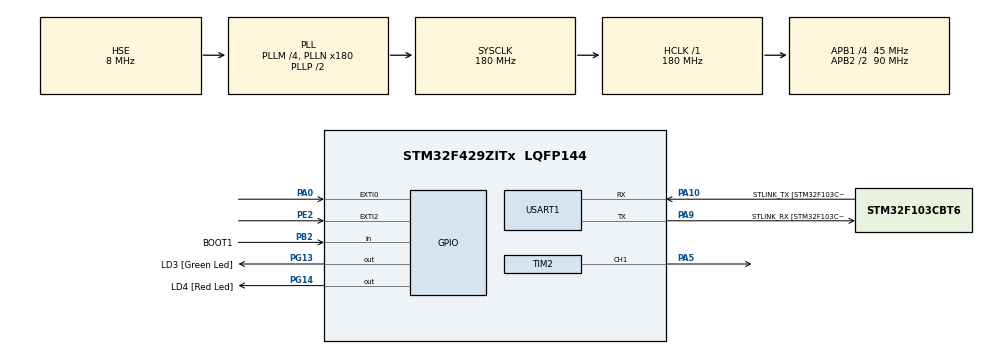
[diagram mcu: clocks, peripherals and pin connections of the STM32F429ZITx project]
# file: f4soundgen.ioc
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Mcu.Family=STM32F4
Mcu.Name=STM32F429ZITx
Mcu.Package=LQFP144
NVIC.EXTI0_IRQn=true\:0\:0\:false\:false\:true\:true
NVIC.EXTI2_IRQn=true\:0\:0\:false\:false\:true\:true
NVIC.PriorityGroup=NVIC_PRIORITYGROUP_4
NVIC.TIM6_DAC_IRQn=true\:0\:0\:false\:false\:true\:false
NVIC.TIM7_IRQn=true\:0\:0\:false\:false\:true\:true
NVIC.TimeBase=TIM6_DAC_IRQn
NVIC.TimeBaseIP=TIM6
PA0/WKUP.Signal=GPXTI0
PA10.GPIO_Label=STLINK_TX [STM32F103CBT6_PA2]
PA10.Mode=Asynchronous
PA10.Signal=USART1_RX
PA11.GPIO_Label=R4
PA11.GPIO_Mode=GPIO_MODE_AF_PP
PA11.GPIO_PuPd=GPIO_NOPULL
PA11.GPIO_Speed=GPIO_SPEED_FREQ_LOW
PA11.Signal=LTDC_R4
PA12.GPIO_Label=R5
PA12.GPIO_Mode=GPIO_MODE_AF_PP
PA12.GPIO_PuPd=GPIO_NOPULL
PA12.GPIO_Speed=GPIO_SPEED_FREQ_LOW
PA12.Signal=LTDC_R5
PA13.GPIO_Label=SWDIO
PA13.Mode=Serial_Wire
PA13.Signal=SYS_JTMS-SWDIO
PA14.GPIO_Label=SWCLK
PA14.Mode=Serial_Wire
PA14.Signal=SYS_JTCK-SWCLK
PA3.GPIO_Label=B5
PA3.GPIO_Mode=GPIO_MODE_AF_PP
PA3.GPIO_PuPd=GPIO_NOPULL
PA3.GPIO_Speed=GPIO_SPEED_FREQ_LOW
PA3.Signal=LTDC_B5
PA4.GPIO_Label=VSYNC
PA4.GPIO_Mode=GPIO_MODE_AF_PP
PA4.GPIO_PuPd=GPIO_NOPULL
PA4.GPIO_Speed=GPIO_SPEED_FREQ_LOW
PA4.Signal=LTDC_VSYNC
PA5.Signal=S_TIM2_CH1_ETR
PA6.GPIO_Label=G2
PA6.GPIO_Mode=GPIO_MODE_AF_PP
PA6.GPIO_PuPd=GPIO_NOPULL
PA6.GPIO_Speed=GPIO_SPEED_FREQ_LOW
PA6.Signal=LTDC_G2
PA8.GPIO_Label=I2C3_SCL [ACP/RF_SCL]
PA8.GPIO_Mode=GPIO_MODE_AF_OD
PA8.GPIO_PuPd=GPIO_NOPULL
PA8.GPIO_Speed=GPIO_SPEED_FREQ_LOW
PA8.Signal=I2C3_SCL
PA9.GPIO_Label=STLINK_RX [STM32F103CBT6_PA3]
PA9.Mode=Asynchronous
PA9.Signal=USART1_TX
PB0.GPIO_Label=R3
PB0.GPIO_Mode=GPIO_MODE_AF_PP
PB0.GPIO_PuPd=GPIO_NOPULL
PB0.GPIO_Speed=GPIO_SPEED_FREQ_LOW
PB0.Signal=LTDC_R3
PB1.GPIO_Label=R6
PB1.GPIO_Mode=GPIO_MODE_AF_PP
PB1.GPIO_PuPd=GPIO_NOPULL
PB1.GPIO_Speed=GPIO_SPEED_FREQ_LOW
PB1.Signal=LTDC_R6
PB10.GPIO_Label=G4
PB10.GPIO_Mode=GPIO_MODE_AF_PP
PB10.GPIO_PuPd=GPIO_NOPULL
PB10.GPIO_Speed=GPIO_SPEED_FREQ_LOW
PB10.Signal=LTDC_G4
PB11.GPIO_Label=G5
PB11.GPIO_Mode=GPIO_MODE_AF_PP
PB11.GPIO_PuPd=GPIO_NOPULL
PB11.GPIO_Speed=GPIO_SPEED_FREQ_LOW
PB11.Signal=LTDC_G5
PB12.GPIO_Label=OTG_FS_ID
PB12.GPIO_Mode=GPIO_MODE_AF_PP
PB12.GPIO_PuPd=GPIO_NOPULL
PB12.GPIO_Speed=GPIO_SPEED_FREQ_LOW
PB12.Signal=USB_OTG_HS_ID
PB13.GPIO_Label=VBUS_FS
PB13.GPIO_Mode=GPIO_MODE_INPUT
PB13.GPIO_PuPd=GPIO_NOPULL
PB13.Signal=USB_OTG_HS_VBUS
PB14.GPIO_Label=OTG_FS_DM
PB14.GPIO_Mode=GPIO_MODE_AF_PP
PB14.GPIO_PuPd=GPIO_NOPULL
PB14.GPIO_Speed=GPIO_SPEED_FREQ_LOW
PB14.Signal=USB_OTG_HS_DM
PB15.GPIO_Label=OTG_FS_DP
PB15.GPIO_Mode=GPIO_MODE_AF_PP
PB15.GPIO_PuPd=GPIO_NOPULL
PB15.GPIO_Speed=GPIO_SPEED_FREQ_LOW
PB15.Signal=USB_OTG_HS_DP
PB2/BOOT1.GPIO_Label=BOOT1
PB2/BOOT1.GPIO_Mode=GPIO_MODE_INPUT
PB2/BOOT1.GPIO_PuPd=GPIO_NOPULL
PB2/BOOT1.Signal=GPIO_Input
PB5.GPIO_Label=SDCKE1
PB5.GPIO_Mode=GPIO_MODE_AF_PP
PB5.GPIO_PuPd=GPIO_NOPULL
PB5.GPIO_Speed=GPIO_SPEED_FREQ_VERY_HIGH
PB5.Signal=FMC_SDCKE1
PB6.GPIO_Label=SDNE1 [SDRAM_CS]
PB6.GPIO_Mode=GPIO_MODE_AF_PP
PB6.GPIO_PuPd=GPIO_NOPULL
PB6.GPIO_Speed=GPIO_SPEED_FREQ_VERY_HIGH
PB6.Signal=FMC_SDNE1
PB8.GPIO_Label=B6
PB8.GPIO_Mode=GPIO_MODE_AF_PP
PB8.GPIO_PuPd=GPIO_NOPULL
PB8.GPIO_Speed=GPIO_SPEED_FREQ_LOW
PB8.Signal=LTDC_B6
PB9.GPIO_Label=B7
PB9.GPIO_Mode=GPIO_MODE_AF_PP
PB9.GPIO_PuPd=GPIO_NOPULL
PB9.GPIO_Speed=GPIO_SPEED_FREQ_LOW
PB9.Signal=LTDC_B7
PC0.GPIO_Label=SDNWE
PC0.GPIO_Mode=GPIO_MODE_AF_PP
PC0.GPIO_PuPd=GPIO_NOPULL
PC0.GPIO_Speed=GPIO_SPEED_FREQ_VERY_HIGH
PC0.Signal=FMC_SDNWE
PC10.GPIO_Label=R2
PC10.GPIO_Mode=GPIO_MODE_AF_PP
PC10.GPIO_PuPd=GPIO_NOPULL
PC10.GPIO_Speed=GPIO_SPEED_FREQ_LOW
PC10.Signal=LTDC_R2
PC14/OSC32_IN.GPIO_Label=PC14-OSC32_IN
PC14/OSC32_IN.Signal=RCC_OSC32_IN
PC15/OSC32_OUT.GPIO_Label=PC15-OSC32_OUT
PC15/OSC32_OUT.Signal=RCC_OSC32_OUT
PC6.GPIO_Label=HSYNC
PC6.GPIO_Mode=GPIO_MODE_AF_PP
PC6.GPIO_PuPd=GPIO_NOPULL
PC6.GPIO_Speed=GPIO_SPEED_FREQ_LOW
PC6.Signal=LTDC_HSYNC
PC7.GPIO_Label=G6
PC7.GPIO_Mode=GPIO_MODE_AF_PP
PC7.GPIO_PuPd=GPIO_NOPULL
PC7.GPIO_Speed=GPIO_SPEED_FREQ_LOW
PC7.Signal=LTDC_G6
PC9.GPIO_Label=I2C3_SDA [ACP/RF_SDA]
PC9.GPIO_Mode=GPIO_MODE_AF_OD
PC9.GPIO_PuPd=GPIO_NOPULL
PC9.GPIO_Speed=GPIO_SPEED_FREQ_LOW
PC9.Signal=I2C3_SDA
PD0.GPIO_Label=D2
PD0.GPIO_Mode=GPIO_MODE_AF_PP
PD0.GPIO_PuPd=GPIO_NOPULL
PD0.GPIO_Speed=GPIO_SPEED_FREQ_VERY_HIGH
PD0.Signal=FMC_D2_DA2
PD1.GPIO_Label=D3
PD1.GPIO_Mode=GPIO_MODE_AF_PP
PD1.GPIO_PuPd=GPIO_NOPULL
PD1.GPIO_Speed=GPIO_SPEED_FREQ_VERY_HIGH
PD1.Signal=FMC_D3_DA3
PD10.GPIO_Label=D15
PD10.GPIO_Mode=GPIO_MODE_AF_PP
PD10.GPIO_PuPd=GPIO_NOPULL
PD10.GPIO_Speed=GPIO_SPEED_FREQ_VERY_HIGH
PD10.Signal=FMC_D15_DA15
PD14.GPIO_Label=D0
PD14.GPIO_Mode=GPIO_MODE_AF_PP
PD14.GPIO_PuPd=GPIO_NOPULL
PD14.GPIO_Speed=GPIO_SPEED_FREQ_VERY_HIGH
PD14.Signal=FMC_D0_DA0
PD15.GPIO_Label=D1
PD15.GPIO_Mode=GPIO_MODE_AF_PP
PD15.GPIO_PuPd=GPIO_NOPULL
PD15.GPIO_Speed=GPIO_SPEED_FREQ_VERY_HIGH
PD15.Signal=FMC_D1_DA1
PD3.GPIO_Label=G7
PD3.GPIO_Mode=GPIO_MODE_AF_PP
PD3.GPIO_PuPd=GPIO_NOPULL
PD3.GPIO_Speed=GPIO_SPEED_FREQ_LOW
PD3.Signal=LTDC_G7
PD6.GPIO_Label=B2
PD6.GPIO_Mode=GPIO_MODE_AF_PP
PD6.GPIO_PuPd=GPIO_NOPULL
PD6.GPIO_Speed=GPIO_SPEED_FREQ_LOW
PD6.Signal=LTDC_B2
PD8.GPIO_Label=D13
PD8.GPIO_Mode=GPIO_MODE_AF_PP
PD8.GPIO_PuPd=GPIO_NOPULL
PD8.GPIO_Speed=GPIO_SPEED_FREQ_VERY_HIGH
PD8.Signal=FMC_D13_DA13
PD9.GPIO_Label=D14
PD9.GPIO_Mode=GPIO_MODE_AF_PP
PD9.GPIO_PuPd=GPIO_NOPULL
PD9.GPIO_Speed=GPIO_SPEED_FREQ_VERY_HIGH
PD9.Signal=FMC_D14_DA14
PE0.GPIO_Label=NBL0 [SDRAM_LDQM]
PE0.GPIO_Mode=GPIO_MODE_AF_PP
PE0.GPIO_PuPd=GPIO_NOPULL
PE0.GPIO_Speed=GPIO_SPEED_FREQ_VERY_HIGH
PE0.Signal=FMC_NBL0
PE1.GPIO_Label=NBL1 [SDRAM_UDQM]
PE1.GPIO_Mode=GPIO_MODE_AF_PP
PE1.GPIO_PuPd=GPIO_NOPULL
PE1.GPIO_Speed=GPIO_SPEED_FREQ_VERY_HIGH
PE1.Signal=FMC_NBL1
PE10.GPIO_Label=D7
PE10.GPIO_Mode=GPIO_MODE_AF_PP
PE10.GPIO_PuPd=GPIO_NOPULL
PE10.GPIO_Speed=GPIO_SPEED_FREQ_VERY_HIGH
PE10.Signal=FMC_D7_DA7
PE11.GPIO_Label=D8
PE11.GPIO_Mode=GPIO_MODE_AF_PP
PE11.GPIO_PuPd=GPIO_NOPULL
PE11.GPIO_Speed=GPIO_SPEED_FREQ_VERY_HIGH
PE11.Signal=FMC_D8_DA8
PE12.GPIO_Label=D9
PE12.GPIO_Mode=GPIO_MODE_AF_PP
PE12.GPIO_PuPd=GPIO_NOPULL
PE12.GPIO_Speed=GPIO_SPEED_FREQ_VERY_HIGH
PE12.Signal=FMC_D9_DA9
PE13.GPIO_Label=D10
PE13.GPIO_Mode=GPIO_MODE_AF_PP
PE13.GPIO_PuPd=GPIO_NOPULL
PE13.GPIO_Speed=GPIO_SPEED_FREQ_VERY_HIGH
PE13.Signal=FMC_D10_DA10
PE14.GPIO_Label=D11
PE14.GPIO_Mode=GPIO_MODE_AF_PP
PE14.GPIO_PuPd=GPIO_NOPULL
PE14.GPIO_Speed=GPIO_SPEED_FREQ_VERY_HIGH
PE14.Signal=FMC_D11_DA11
PE15.GPIO_Label=D12
PE15.GPIO_Mode=GPIO_MODE_AF_PP
PE15.GPIO_PuPd=GPIO_NOPULL
PE15.GPIO_Speed=GPIO_SPEED_FREQ_VERY_HIGH
PE15.Signal=FMC_D12_DA12
PE2.GPIO_PuPd=GPIO_PULLDOWN
PE2.Signal=GPXTI2
PE7.GPIO_Label=D4
PE7.GPIO_Mode=GPIO_MODE_AF_PP
PE7.GPIO_PuPd=GPIO_NOPULL
PE7.GPIO_Speed=GPIO_SPEED_FREQ_VERY_HIGH
PE7.Signal=FMC_D4_DA4
PE8.GPIO_Label=D5
PE8.GPIO_Mode=GPIO_MODE_AF_PP
PE8.GPIO_PuPd=GPIO_NOPULL
PE8.GPIO_Speed=GPIO_SPEED_FREQ_VERY_HIGH
PE8.Signal=FMC_D5_DA5
PE9.GPIO_Label=D6
PE9.GPIO_Mode=GPIO_MODE_AF_PP
PE9.GPIO_PuPd=GPIO_NOPULL
PE9.GPIO_Speed=GPIO_SPEED_FREQ_VERY_HIGH
PE9.Signal=FMC_D6_DA6
PF0.GPIO_Label=A0
PF0.GPIO_Mode=GPIO_MODE_AF_PP
PF0.GPIO_PuPd=GPIO_NOPULL
PF0.GPIO_Speed=GPIO_SPEED_FREQ_VERY_HIGH
PF0.Signal=FMC_A0
PF1.GPIO_Label=A1
PF1.GPIO_Mode=GPIO_MODE_AF_PP
PF1.GPIO_PuPd=GPIO_NOPULL
PF1.GPIO_Speed=GPIO_SPEED_FREQ_VERY_HIGH
PF1.Signal=FMC_A1
PF10.GPIO_Label=ENABLE [LCD-RGB_ENABLE]
PF10.GPIO_Mode=GPIO_MODE_AF_PP
PF10.GPIO_PuPd=GPIO_NOPULL
PF10.GPIO_Speed=GPIO_SPEED_FREQ_LOW
PF10.Signal=LTDC_DE
PF11.GPIO_Label=SDNRAS
PF11.GPIO_Mode=GPIO_MODE_AF_PP
PF11.GPIO_PuPd=GPIO_NOPULL
PF11.GPIO_Speed=GPIO_SPEED_FREQ_VERY_HIGH
PF11.Signal=FMC_SDNRAS
PF12.GPIO_Label=A6
PF12.GPIO_Mode=GPIO_MODE_AF_PP
PF12.GPIO_PuPd=GPIO_NOPULL
PF12.GPIO_Speed=GPIO_SPEED_FREQ_VERY_HIGH
PF12.Signal=FMC_A6
PF13.GPIO_Label=A7
PF13.GPIO_Mode=GPIO_MODE_AF_PP
PF13.GPIO_PuPd=GPIO_NOPULL
PF13.GPIO_Speed=GPIO_SPEED_FREQ_VERY_HIGH
PF13.Signal=FMC_A7
PF14.GPIO_Label=A8
PF14.GPIO_Mode=GPIO_MODE_AF_PP
PF14.GPIO_PuPd=GPIO_NOPULL
PF14.GPIO_Speed=GPIO_SPEED_FREQ_VERY_HIGH
PF14.Signal=FMC_A8
PF15.GPIO_Label=A9
PF15.GPIO_Mode=GPIO_MODE_AF_PP
PF15.GPIO_PuPd=GPIO_NOPULL
PF15.GPIO_Speed=GPIO_SPEED_FREQ_VERY_HIGH
PF15.Signal=FMC_A9
PF2.GPIO_Label=A2
PF2.GPIO_Mode=GPIO_MODE_AF_PP
PF2.GPIO_PuPd=GPIO_NOPULL
PF2.GPIO_Speed=GPIO_SPEED_FREQ_VERY_HIGH
PF2.Signal=FMC_A2
PF3.GPIO_Label=A3
PF3.GPIO_Mode=GPIO_MODE_AF_PP
PF3.GPIO_PuPd=GPIO_NOPULL
PF3.GPIO_Speed=GPIO_SPEED_FREQ_VERY_HIGH
PF3.Signal=FMC_A3
PF4.GPIO_Label=A4
PF4.GPIO_Mode=GPIO_MODE_AF_PP
PF4.GPIO_PuPd=GPIO_NOPULL
PF4.GPIO_Speed=GPIO_SPEED_FREQ_VERY_HIGH
PF4.Signal=FMC_A4
PF5.GPIO_Label=A5
PF5.GPIO_Mode=GPIO_MODE_AF_PP
PF5.GPIO_PuPd=GPIO_NOPULL
PF5.GPIO_Speed=GPIO_SPEED_FREQ_VERY_HIGH
PF5.Signal=FMC_A5
PF7.GPIO_Label=SPI5_SCK [L3GD20_SCL/SPC]
PF7.GPIO_Mode=GPIO_MODE_AF_PP
PF7.GPIO_PuPd=GPIO_NOPULL
PF7.GPIO_Speed=GPIO_SPEED_FREQ_LOW
PF7.Signal=SPI5_SCK
PF8.GPIO_Label=SPI5_MISO [L3GD20_SDO]
PF8.GPIO_Mode=GPIO_MODE_AF_PP
PF8.GPIO_PuPd=GPIO_NOPULL
PF8.GPIO_Speed=GPIO_SPEED_FREQ_LOW
PF8.Signal=SPI5_MISO
PF9.GPIO_Label=SPI5_MOSI [L3GD20_SDA/SDI/SDO]
PF9.GPIO_Mode=GPIO_MODE_AF_PP
PF9.GPIO_PuPd=GPIO_NOPULL
PF9.GPIO_Speed=GPIO_SPEED_FREQ_LOW
PF9.Signal=SPI5_MOSI
PG0.GPIO_Label=A10
PG0.GPIO_Mode=GPIO_MODE_AF_PP
PG0.GPIO_PuPd=GPIO_NOPULL
PG0.GPIO_Speed=GPIO_SPEED_FREQ_VERY_HIGH
PG0.Signal=FMC_A10
PG1.GPIO_Label=A11
PG1.GPIO_Mode=GPIO_MODE_AF_PP
PG1.GPIO_PuPd=GPIO_NOPULL
PG1.GPIO_Speed=GPIO_SPEED_FREQ_VERY_HIGH
PG1.Signal=FMC_A11
PG10.GPIO_Label=G3
PG10.GPIO_Mode=GPIO_MODE_AF_PP
PG10.GPIO_PuPd=GPIO_NOPULL
PG10.GPIO_Speed=GPIO_SPEED_FREQ_LOW
PG10.Signal=LTDC_G3
PG11.GPIO_Label=B3
PG11.GPIO_Mode=GPIO_MODE_AF_PP
PG11.GPIO_PuPd=GPIO_NOPULL
PG11.GPIO_Speed=GPIO_SPEED_FREQ_LOW
PG11.Signal=LTDC_B3
PG12.GPIO_Label=B4
PG12.GPIO_Mode=GPIO_MODE_AF_PP
PG12.GPIO_PuPd=GPIO_NOPULL
PG12.GPIO_Speed=GPIO_SPEED_FREQ_LOW
PG12.Signal=LTDC_B4
PG13.GPIO_Label=LD3 [Green Led]
PG13.GPIO_Mode=GPIO_MODE_OUTPUT_PP
PG13.GPIO_PuPd=GPIO_NOPULL
PG13.GPIO_Speed=GPIO_SPEED_FREQ_LOW
PG13.Signal=GPIO_Output
PG14.GPIO_Label=LD4 [Red Led]
PG14.GPIO_Mode=GPIO_MODE_OUTPUT_PP
PG14.GPIO_PuPd=GPIO_NOPULL
PG14.GPIO_Speed=GPIO_SPEED_FREQ_LOW
PG14.Signal=GPIO_Output
PG15.GPIO_Label=SDNCAS
PG15.GPIO_Mode=GPIO_MODE_AF_PP
PG15.GPIO_PuPd=GPIO_NOPULL
PG15.GPIO_Speed=GPIO_SPEED_FREQ_VERY_HIGH
PG15.Signal=FMC_SDNCAS
PG4.GPIO_Label=BA0
PG4.GPIO_Mode=GPIO_MODE_AF_PP
PG4.GPIO_PuPd=GPIO_NOPULL
PG4.GPIO_Speed=GPIO_SPEED_FREQ_VERY_HIGH
PG4.Signal=FMC_A14_BA0
PG5.GPIO_Label=BA1
PG5.GPIO_Mode=GPIO_MODE_AF_PP
PG5.GPIO_PuPd=GPIO_NOPULL
PG5.GPIO_Speed=GPIO_SPEED_FREQ_VERY_HIGH
PG5.Signal=FMC_A15_BA1
PG6.GPIO_Label=R7
PG6.GPIO_Mode=GPIO_MODE_AF_PP
PG6.GPIO_PuPd=GPIO_NOPULL
PG6.GPIO_Speed=GPIO_SPEED_FREQ_LOW
PG6.Signal=LTDC_R7
PG7.GPIO_Label=DOTCLK [LCT-RGB_DOTCLK]
PG7.GPIO_Mode=GPIO_MODE_AF_PP
PG7.GPIO_PuPd=GPIO_NOPULL
PG7.GPIO_Speed=GPIO_SPEED_FREQ_LOW
PG7.Signal=LTDC_CLK
PG8.GPIO_Label=SDCLK
PG8.GPIO_Mode=GPIO_MODE_AF_PP
PG8.GPIO_PuPd=GPIO_NOPULL
PG8.GPIO_Speed=GPIO_SPEED_FREQ_VERY_HIGH
PG8.Signal=FMC_SDCLK
PH0/OSC_IN.GPIO_Label=PH0-OSC_IN
PH0/OSC_IN.Mode=HSE-External-Oscillator
PH0/OSC_IN.Signal=RCC_OSC_IN
PH1/OSC_OUT.GPIO_Label=PH1-OSC_OUT
PH1/OSC_OUT.Mode=HSE-External-Oscillator
PH1/OSC_OUT.Signal=RCC_OSC_OUT
ProjectManager.HeapSize=0x200
ProjectManager.StackSize=0x400
ProjectManager.TargetToolchain=Makefile
RCC.48MHZClocksFreq_Value=90000000
RCC.AHBFreq_Value=180000000
RCC.APB1CLKDivider=RCC_HCLK_DIV4
RCC.APB1Freq_Value=45000000
RCC.APB1TimFreq_Value=90000000
RCC.APB2CLKDivider=RCC_HCLK_DIV2
RCC.APB2Freq_Value=90000000
RCC.APB2TimFreq_Value=180000000
RCC.CortexFreq_Value=180000000
RCC.HCLKFreq_Value=180000000
RCC.HSE_VALUE=8000000
RCC.HSI_VALUE=16000000
RCC.LSE_VALUE=32768
RCC.PLLM=4
RCC.PLLN=180
RCC.PLLSAIDivR=RCC_PLLSAIDIVR_4
RCC.PLLSAIN=60
RCC.PLLSAIR=5
RCC.PLLSourceVirtual=RCC_PLLSOURCE_HSE
RCC.SYSCLKFreq_VALUE=180000000
RCC.SYSCLKSource=RCC_SYSCLKSOURCE_PLLCLK
RCC.VCOOutputFreq_Value=360000000
SH.FMC_A0.0=FMC_A0
SH.FMC_A1.0=FMC_A1
SH.FMC_A10.0=FMC_A10
SH.FMC_A11.0=FMC_A11
SH.FMC_A14_BA0.0=FMC_BA0
SH.FMC_A15_BA1.0=FMC_BA1
SH.FMC_A2.0=FMC_A2
SH.FMC_A3.0=FMC_A3
SH.FMC_A4.0=FMC_A4
SH.FMC_A5.0=FMC_A5
SH.FMC_A6.0=FMC_A6
SH.FMC_A7.0=FMC_A7
SH.FMC_A8.0=FMC_A8
SH.FMC_A9.0=FMC_A9
SH.FMC_D0_DA0.0=FMC_D0
SH.FMC_D10_DA10.0=FMC_D10
SH.FMC_D11_DA11.0=FMC_D11
SH.FMC_D12_DA12.0=FMC_D12
SH.FMC_D13_DA13.0=FMC_D13
SH.FMC_D14_DA14.0=FMC_D14
SH.FMC_D15_DA15.0=FMC_D15
SH.FMC_D1_DA1.0=FMC_D1
SH.FMC_D2_DA2.0=FMC_D2
SH.FMC_D3_DA3.0=FMC_D3
SH.FMC_D4_DA4.0=FMC_D4
SH.FMC_D5_DA5.0=FMC_D5
SH.FMC_D6_DA6.0=FMC_D6
SH.FMC_D7_DA7.0=FMC_D7
SH.FMC_D8_DA8.0=FMC_D8
SH.FMC_D9_DA9.0=FMC_D9
SH.FMC_NBL0.0=FMC_NBL0
SH.FMC_NBL1.0=FMC_NBL1
SH.FMC_SDCLK.0=FMC_SDCLK
SH.FMC_SDNCAS.0=FMC_SDNCAS
SH.FMC_SDNRAS.0=FMC_SDNRAS
SH.FMC_SDNWE.0=FMC_SDNWE
SH.S_TIM2_CH1_ETR.0=TIM2_CH1,PWM Generation1 CH1
TIM2.Channel-PWM\ Generation1\ CH1=TIM_CHANNEL_1
TIM2.Period=100
TIM2.Prescaler=9
TIM2.Pulse-PWM\ Generation1\ CH1=50
TIM7.Period=2045
USART1.VirtualMode=VM_ASYNC
VP_SYS_VS_tim6.Mode=TIM6
VP_TIM7_VS_ClockSourceINT.Mode=Enable_Timer
board=32F429IDISCOVERY

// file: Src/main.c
/**
  ******************************************************************************
  * @file           : main.c
  * @brief          : Main program body
  ******************************************************************************
  ** This notice applies to any and all portions of this file
  * that are not between comment pairs USER CODE BEGIN and
  * USER CODE END. Other portions of this file, whether
  * inserted by the user or by software development tools
  * are owned by their respective copyright owners.
  *
  * COPYRIGHT(c) 2019 STMicroelectronics
  *
  * Redistribution and use in source and binary forms, with or without modification,
  * are permitted provided that the following conditions are met:
  *   1. Redistributions of source code must retain the above copyright notice,
  *      this list of conditions and the following disclaimer.
  *   2. Redistributions in binary form must reproduce the above copyright notice,
  *      this list of conditions and the following disclaimer in the documentation
  *      and/or other materials provided with the distribution.
  *   3. Neither the name of STMicroelectronics nor the names of its contributors
  *      may be used to endorse or promote products derived from this software
  *      without specific prior written permission.
  *
  * THIS SOFTWARE IS PROVIDED BY THE COPYRIGHT HOLDERS AND CONTRIBUTORS "AS IS"
  * AND ANY EXPRESS OR IMPLIED WARRANTIES, INCLUDING, BUT NOT LIMITED TO, THE
  * IMPLIED WARRANTIES OF MERCHANTABILITY AND FITNESS FOR A PARTICULAR PURPOSE ARE
  * DISCLAIMED. IN NO EVENT SHALL THE COPYRIGHT HOLDER OR CONTRIBUTORS BE LIABLE
  * FOR ANY DIRECT, INDIRECT, INCIDENTAL, SPECIAL, EXEMPLARY, OR CONSEQUENTIAL
  * DAMAGES (INCLUDING, BUT NOT LIMITED TO, PROCUREMENT OF SUBSTITUTE GOODS OR
  * SERVICES; LOSS OF USE, DATA, OR PROFITS; OR BUSINESS INTERRUPTION) HOWEVER
  * CAUSED AND ON ANY THEORY OF LIABILITY, WHETHER IN CONTRACT, STRICT LIABILITY,
  * OR TORT (INCLUDING NEGLIGENCE OR OTHERWISE) ARISING IN ANY WAY OUT OF THE USE
  * OF THIS SOFTWARE, EVEN IF ADVISED OF THE POSSIBILITY OF SUCH DAMAGE.
  *
  ******************************************************************************
  */
#include "main.h"
#include "stm32f4xx_hal.h"
#include "tim.h"
#include "usart.h"
#include "gpio.h"

/* USER CODE BEGIN Includes */
#include <math.h>
#include <string.h>
/* USER CODE END Includes */

/* USER CODE BEGIN PV */
/* Private variables ---------------------------------------------------------*/
#define MAX_BUFSIZE 4096
#define MIN_BUFSIZE 512

static volatile int g_freq = 0, g_amp = 0, g_ad = 0;
static volatile uint32_t g_time = 0;
static volatile uint16_t g_bufrd = 0, g_bufwr = 0;
static uint8_t g_buf[MAX_BUFSIZE];
/* USER CODE END PV */

void SystemClock_Config(void);

/* USER CODE BEGIN PFP */
/* Private function prototypes -----------------------------------------------*/

/* USER CODE END PFP */

/* USER CODE BEGIN 0 */
void HAL_GPIO_EXTI_Callback(uint16_t GPIO_Pin)
{
	g_amp = 100;
}
/* USER CODE END 0 */

int main(void)
{

  /* MCU Configuration----------------------------------------------------------*/

  /* Reset of all peripherals, Initializes the Flash interface and the Systick. */
  HAL_Init();

  /* Configure the system clock */
  SystemClock_Config();

  /* Initialize all configured peripherals */
  MX_GPIO_Init();
  MX_USART1_UART_Init();
  MX_TIM2_Init();
  MX_TIM7_Init();
  /* USER CODE BEGIN 2 */
  HAL_TIM_Base_Start_IT(&htim7);
  HAL_TIM_PWM_Start(&htim2,TIM_CHANNEL_1);
  memset(g_buf,0,MAX_BUFSIZE);
  g_freq = 440;
  /* USER CODE END 2 */

  /* Infinite loop */
  while (1)
  {

  /* USER CODE BEGIN 3 */
	  HAL_GPIO_TogglePin(LD3_GPIO_Port,LD3_Pin);
//	  if (htim2.Instance->CCR1) --htim2.Instance->CCR1;
//	  HAL_Delay(50);

	  uint32_t ready;
	  if (g_bufwr < g_bufrd)
		  ready = MAX_BUFSIZE - g_bufrd - 1 + g_bufwr;
	  else
		  ready = g_bufwr - g_bufrd;

	  for (uint32_t i = ready; i < MAX_BUFSIZE; i++) {
		  float sm = (float)(g_time++) / 44000.f;
		  float pl = sin(2*M_PI*(sm - (int)sm)*g_freq) * (cos(2*M_PI*(sm - (int)sm)*4) * g_amp);
		  g_buf[g_bufwr++] = (uint8_t)floor(pl);
		  if (g_bufwr >= MAX_BUFSIZE) g_bufwr = 0;
	  }
  }
  /* USER CODE END 3 */

}

void SystemClock_Config(void)
{

  RCC_OscInitTypeDef RCC_OscInitStruct;
  RCC_ClkInitTypeDef RCC_ClkInitStruct;

    /**Configure the main internal regulator output voltage
    */
  __HAL_RCC_PWR_CLK_ENABLE();

  __HAL_PWR_VOLTAGESCALING_CONFIG(PWR_REGULATOR_VOLTAGE_SCALE1);

    /**Initializes the CPU, AHB and APB busses clocks
    */
  RCC_OscInitStruct.OscillatorType = RCC_OSCILLATORTYPE_HSE;
  RCC_OscInitStruct.HSEState = RCC_HSE_ON;
  RCC_OscInitStruct.PLL.PLLState = RCC_PLL_ON;
  RCC_OscInitStruct.PLL.PLLSource = RCC_PLLSOURCE_HSE;
  RCC_OscInitStruct.PLL.PLLM = 4;
  RCC_OscInitStruct.PLL.PLLN = 180;
  RCC_OscInitStruct.PLL.PLLP = RCC_PLLP_DIV2;
  RCC_OscInitStruct.PLL.PLLQ = 4;
  if (HAL_RCC_OscConfig(&RCC_OscInitStruct) != HAL_OK)
  {
    _Error_Handler(__FILE__, __LINE__);
  }

    /**Activate the Over-Drive mode
    */
  if (HAL_PWREx_EnableOverDrive() != HAL_OK)
  {
    _Error_Handler(__FILE__, __LINE__);
  }

    /**Initializes the CPU, AHB and APB busses clocks
    */
  RCC_ClkInitStruct.ClockType = RCC_CLOCKTYPE_HCLK|RCC_CLOCKTYPE_SYSCLK
                              |RCC_CLOCKTYPE_PCLK1|RCC_CLOCKTYPE_PCLK2;
  RCC_ClkInitStruct.SYSCLKSource = RCC_SYSCLKSOURCE_PLLCLK;
  RCC_ClkInitStruct.AHBCLKDivider = RCC_SYSCLK_DIV1;
  RCC_ClkInitStruct.APB1CLKDivider = RCC_HCLK_DIV4;
  RCC_ClkInitStruct.APB2CLKDivider = RCC_HCLK_DIV2;

  if (HAL_RCC_ClockConfig(&RCC_ClkInitStruct, FLASH_LATENCY_5) != HAL_OK)
  {
    _Error_Handler(__FILE__, __LINE__);
  }

    /**Configure the Systick interrupt time
    */
  HAL_SYSTICK_Config(HAL_RCC_GetHCLKFreq()/1000);

    /**Configure the Systick
    */
  HAL_SYSTICK_CLKSourceConfig(SYSTICK_CLKSOURCE_HCLK);

  /* SysTick_IRQn interrupt configuration */
  HAL_NVIC_SetPriority(SysTick_IRQn, 0, 0);
}

void HAL_TIM_PeriodElapsedCallback(TIM_HandleTypeDef *htim)
{
  if (htim->Instance == TIM6) {
    HAL_IncTick();
  }
  /* USER CODE BEGIN Callback 1 */
  if (htim->Instance == TIM7) {
	HAL_GPIO_TogglePin(LD4_GPIO_Port,LD4_Pin);
	htim2.Instance->CCR1 = g_buf[g_bufrd++];
	if (g_bufrd >= MAX_BUFSIZE) g_bufrd = 0;
  }
  /* USER CODE END Callback 1 */
}

void _Error_Handler(char *file, int line)
{
  while(1)
  {
  }
}

/************************ (C) COPYRIGHT STMicroelectronics *****END OF FILE****/
